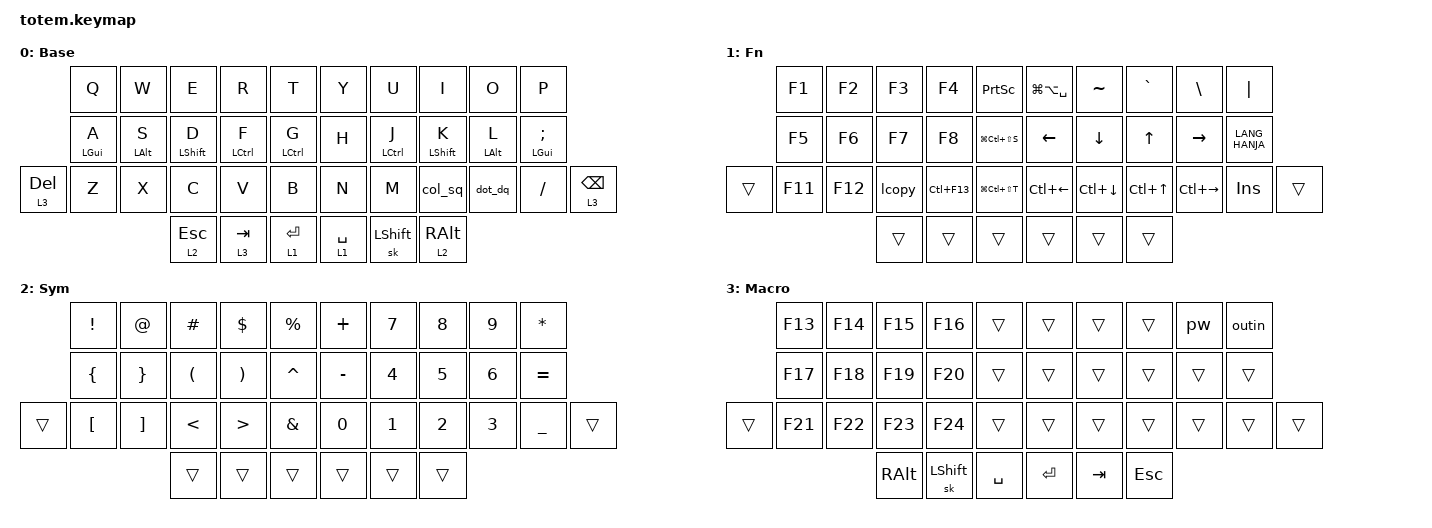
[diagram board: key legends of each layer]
//
//                                                        ▀▀▀▀▀     ▀▀▀▀▀          ▀▀█▀▀
//                                                        ▄▀▀▀▄  ▄  ▄▀▀▀▄  ▄  ▄▀▀▀▄  █  ▄▀▀▀▄
//                                                        █   █  █  █   █  █  █   █  █  █   █
//                                                         ▀▀▀   █   ▀▀▀   █   ▀▀▀   ▀   ▀▀▀
//                                                               █      ▄▄▄█▄▄▄    █   █  
//                                                               ▀      █  █  █     █▄█
//                                                             ▀▀▀▀▀    █  █  █      ▀
//                                                                      ▀  ▀  ▀
//
// ▄▄▄▄▄▄▄▄▄▄▄▄▄▄▄▄▄▄▄▄▄▄▄▄▄▄▄▄▄▄▄▄▄▄▄▄▄▄▄▄▄▄▄▄▄▄▄▄▄▄▄▄▄▄▄▄▄▄▄▄▄▄▄▄▄▄▄▄▄▄▄▄▄▄▄▄▄▄▄▄▄▄▄▄▄▄▄▄▄▄▄▄▄▄▄▄▄▄▄▄▄▄▄▄▄▄▄▄▄▄▄▄▄▄▄▄▄▄▄▄▄▄▄▄▄▄▄▄▄▄▄▄▄▄▄▄▄▄▄▄▄▄▄▄▄▄▄▄▄

#include <behaviors.dtsi>
#include <dt-bindings/zmk/keys.h>

#define Base        0
#define Nav         1
#define Sym         2
#define Fun         3
#define Game        4
#define Gameplus    5

&mt {
    quick-tap-ms = <100>;
    global-quick-tap;
    flavor = "tap-preferred";
    tapping-term-ms = <170>;
};

&lt {
    tapping-term-ms = <240>;
    flavor = "balanced";
    quick-tap-ms = <150>;
};

/ {
    behaviors {
        hm: homerow_mods {
            compatible = "zmk,behavior-hold-tap";
            label = "HOMEROW_MODS";
            #binding-cells = <2>;
            flavor = "tap-preferred";
            tapping-term-ms = <200>;
            quick-tap-ms = <125>;
            global-quick-tap;
            bindings = <&kp>, <&kp>;
        };

        col_sq: col_sq {
            compatible = "zmk,behavior-mod-morph";
            label = "COL_SQ";
            bindings = <&kp COMMA>, <&kp SINGLE_QUOTE>;

            #binding-cells = <0>;
            mods = <(MOD_LSFT|MOD_RSFT)>;
        };

        dot_dq: dot_dq {
            compatible = "zmk,behavior-mod-morph";
            label = "DOT_DQ";
            bindings = <&kp DOT>, <&kp DOUBLE_QUOTES>;

            #binding-cells = <0>;
            mods = <(MOD_LSFT|MOD_RSFT)>;
        };
    };

    combos {
        compatible = "zmk,combos";

        HanEng {
            bindings = <&kp LANG_HANGEUL>;
            key-positions = <28 29>;
            layers = <0>;
        };

        PgUp {
            bindings = <&kp PAGE_UP>;
            key-positions = <7 8>;
            layers = <0>;
        };

        PgDn {
            bindings = <&kp PAGE_DOWN>;
            key-positions = <17 18>;
            layers = <0>;
        };

        MoveLeft {
            bindings = <&kp LG(LC(LS(LEFT)))>;
            key-positions = <22 23>;
            layers = <0>;
        };

        Home {
            bindings = <&kp HOME>;
            key-positions = <6 7>;
            layers = <0>;
        };

        End {
            bindings = <&kp END>;
            key-positions = <16 17>;
            layers = <0>;
        };

        LeftDesktop {
            bindings = <&kp LG(LC(LEFT))>;
            key-positions = <11 12>;
            layers = <0>;
        };

        RightDesktop {
            bindings = <&kp LG(LC(RIGHT))>;
            key-positions = <12 13>;
            layers = <0>;
        };

        Back {
            bindings = <&kp LA(LEFT)>;
            key-positions = <1 2>;
            layers = <0>;
        };

        Forward {
            bindings = <&kp LA(RIGHT)>;
            key-positions = <2 3>;
            layers = <0>;
        };

        MoveRight {
            bindings = <&kp LG(LC(LS(RIGHT)))>;
            key-positions = <23 24>;
            layers = <0>;
        };
    };

    macros {
        lcopy: line_copy {
            compatible = "zmk,behavior-macro";
            #binding-cells = <0>;
            bindings = <&kp HOME &kp LS(END) &kp LC(C)>;
            label = "LINE_COPY";
        };

        outin: OutNIn {
            compatible = "zmk,behavior-macro";
            #binding-cells = <0>;
            bindings = <&kp LC(LEFT_ALT) &kp LG(L) &kp LC(LA(DELETE))>;
            label = "OUTNIN";
        };

        pw: pw {
            compatible = "zmk,behavior-macro";
            #binding-cells = <0>;
            bindings = <&kp S &kp M &kp L &kp F &kp F &kp L &kp F &kp K &kp N0 &kp MINUS &kp RET>;
            label = "PW";
        };
    };

    keymap {
        compatible = "zmk,keymap";

        Base {
            bindings = <
           &kp Q       &kp W       &kp E         &kp R        &kp T          &kp Y        &kp U        &kp I        &kp O       &kp P
           &hm LGUI A  &hm LALT S  &hm LSHIFT D  &hm LCTRL F  &hm LCTRL G    &kp H        &hm LCTRL J  &hm LSHFT K  &hm LALT L  &hm LGUI SEMICOLON
&lt 3 DEL  &kp Z       &kp X       &kp C         &kp V        &kp B          &kp N        &kp M        &col_sq      &dot_dq     &kp SLASH           &lt 3 BACKSPACE
                                   &lt 2 ESC     &lt 3 TAB    &lt 1 ENTER    &lt 1 SPACE  &sk LSHIFT   &lt 2 RALT
            >;

            label = "Base";
        };

        Expansion {
            bindings = <
        &kp F1   &kp F2   &kp F3  &kp F4       &kp PRINTSCREEN      &kp LG(LA(SPACE))  &kp TILDE     &kp GRAVE   &kp BSLH       &kp PIPE
        &kp F5   &kp F6   &kp F7  &kp F8       &kp LG(LC(LS(S)))    &kp LEFT           &kp DOWN      &kp UP      &kp RIGHT      &kp LANG_HANJA
&trans  &kp F11  &kp F12  &lcopy  &kp LC(F13)  &kp LG(LC(LS(T)))    &kp LC(LEFT)       &kp LC(DOWN)  &kp LC(UP)  &kp LC(RIGHT)  &kp INS         &trans
                          &trans  &trans       &trans               &trans             &trans        &trans
            >;

            label = "Fn";
        };

        Symbols {
            bindings = <
        &kp EXCL          &kp AT             &kp HASH              &kp DOLLAR             &kp PERCENT    &kp PLUS      &kp NUMBER_7  &kp NUMBER_8  &kp NUMBER_9  &kp STAR
        &kp LEFT_BRACE    &kp RIGHT_BRACE    &kp LEFT_PARENTHESIS  &kp RIGHT_PARENTHESIS  &kp CARET      &kp MINUS     &kp NUMBER_4  &kp NUMBER_5  &kp NUMBER_6  &kp EQUAL
&trans  &kp LEFT_BRACKET  &kp RIGHT_BRACKET  &kp LESS_THAN         &kp GREATER_THAN       &kp AMPS       &kp NUMBER_0  &kp NUMBER_1  &kp NUMBER_2  &kp NUMBER_3  &kp UNDER  &trans
                                             &trans                &trans                 &trans         &trans        &trans        &trans
            >;

            label = "Sym";
        };

        Macro {
            bindings = <
        &kp F13  &kp F14  &kp F15   &kp F16    &trans       &trans     &trans   &trans   &pw     &outin
        &kp F17  &kp F18  &kp F19   &kp F20    &trans       &trans     &trans   &trans   &trans  &trans
&trans  &kp F21  &kp F22  &kp F23   &kp F24    &trans       &trans     &trans   &trans   &trans  &trans  &trans
                          &kp RALT  &sk LSHFT  &kp SPACE    &kp ENTER  &kp TAB  &kp ESC
            >;

            label = "Macro";
        };
    };
};
